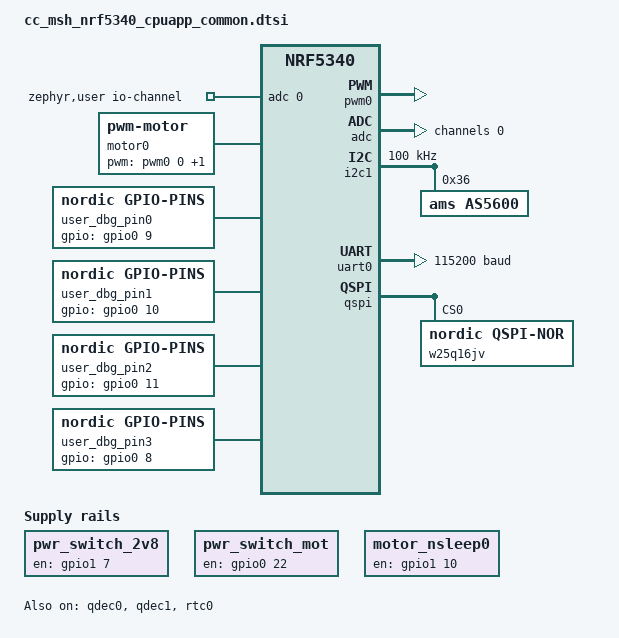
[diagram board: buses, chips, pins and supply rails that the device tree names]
/*
 * Copyright (c) 2024 Classified Cycling BV
 *
 * SPDX-License-Identifier: Apache-2.0
 */

#include "cc_msh_nrf5340_cpuapp_common-pinctrl.dtsi"

/ {
	chosen {
		zephyr,console = &uart0;
		zephyr,shell-uart = &uart0;
		zephyr,uart-mcumgr = &uart0;
		zephyr,bt-mon-uart = &uart0;
		zephyr,bt-c2h-uart = &uart0;
		zephyr,bt-hci-ipc = &ipc0;
		watchdog0 = &wdt0;
	};

	/* These aliases are provided for compatibility with samples */
	aliases {
		spi-flash0 = &w25q16jv;
		encoder = &qdec0;
		motor = &motor0;
		pwr-switch-mot = &pwr_switch_mot;
		hall0 = &hall0;
		adc = &adc;
	};

	zephyr,user {
		io-channels = <&adc 0>;
		ppi-trace-rtc = <&rtc0>;
	};

	/* This regulator controls PSW+2V8_ON onboard supply */
	pwr_switch_2v8: pwr-switch-2v8 {
		compatible = "regulator-fixed";
		enable-gpios = <&gpio1 7 GPIO_ACTIVE_HIGH>;
		regulator-name = "pwr_switch_2v8";
		regulator-boot-on;
		startup-delay-us = <2000>;
		off-on-delay-us = <2000>;
	};

	/* This regulator controls the on-board Motor supply */
	pwr_switch_mot: pwr-switch-mot  {
		compatible = "regulator-fixed";
		enable-gpios = <&gpio0 22 GPIO_ACTIVE_HIGH>;
		regulator-name = "pwr_switch_mot";
		startup-delay-us = <0>;
		off-on-delay-us = <8000>;
	};

	/* This regulator controls the motor driver nSLEEP GPIO */
	motor_nsleep0: motor-nsleep0 {
		compatible = "regulator-fixed";
		enable-gpios = <&gpio1 10 GPIO_ACTIVE_HIGH>;
		regulator-name = "motor_nsleep";
		startup-delay-us = <0>;
		off-on-delay-us = <0>;
	};

	motor0: motor_0 {
		compatible = "pwm-motor";
		pwms = <&pwm0 0 PWM_MSEC(1) PWM_POLARITY_NORMAL>,
		       <&pwm0 1 PWM_MSEC(1) PWM_POLARITY_NORMAL>;
		pwm-names ="alpha", "beta";
		regulator = <&pwr_switch_mot>;
	};

	inputs {
		compatible = "cc-input";
		hall0: hall_0 {
			gpios = <&gpio1 5 (GPIO_PUSH_PULL)>;
			label = "Hall sensor 0";
		};
	};

	user_dbg_pin0: user-dbg-pin0 {
		compatible = "nordic,gpio-pins";
		gpios = <&gpio0 9 GPIO_ACTIVE_HIGH>;
		status = "okay";
	};

	user_dbg_pin1: user-dbg-pin1 {
		compatible = "nordic,gpio-pins";
		gpios = <&gpio0 10 GPIO_ACTIVE_HIGH>;
		status = "okay";
	};

	user_dbg_pin2: user-dbg-pin2 {
		compatible = "nordic,gpio-pins";
		gpios = <&gpio0 11 GPIO_ACTIVE_HIGH>;
		status = "okay";
	};

	user_dbg_pin3: user-dbg-pin3 {
		compatible = "nordic,gpio-pins";
		gpios = <&gpio0 8 GPIO_ACTIVE_HIGH>;
		status = "okay";
	};
};

&pwm0 {
	status = "okay";
	pinctrl-0 = <&pwm0_default>;
	pinctrl-1 = <&pwm0_sleep>;
	pinctrl-names = "default", "sleep";
};


&qdec0 {
	status = "okay";
	pinctrl-0 = <&qdec0_default>;
	pinctrl-1 = <&qdec0_sleep>;
	pinctrl-names = "default", "sleep";
	// steps = <1200>;  // For Tronsun 12GFN30-100-06150E (3 PPR x 100:1)
	steps = <2592>;  // For Zhaowei ZWMD012012-216E (3 PPR x 216:1)
	// steps = <2400>;  // For Tronsun 12GRN30-199-06100E (3 PPR x 199:1)
	// steps = <2520>;  // For TT-GM12-N30VA (3 PPR x 210:1)
	led-pre = <0>;  // This must be set to zero since we're not using an LED-based encoder
};

&qdec1 {
	status = "okay";
	pinctrl-0 = <&qdec1_default>;
	pinctrl-1 = <&qdec1_sleep>;
	pinctrl-names = "default", "sleep";
	steps = <80>;
	led-pre = <0>;  // This must be set to zero since we're not using an LED-based encoder
};

&adc {
	status = "okay";
	#address-cells = <1>;
	#size-cells = <0>;

	channel@0 {
		reg = <0>;
		zephyr,gain = "ADC_GAIN_1_6";
		zephyr,reference = "ADC_REF_INTERNAL";
		zephyr,acquisition-time = <ADC_ACQ_TIME_DEFAULT>;
		zephyr,input-positive = <NRF_SAADC_AIN6>; /* P0.27 */
		zephyr,resolution = <12>;
		zephyr,oversampling = <4>;
	};
};

&gpiote {
	status = "okay";
};

&gpio0 {
	status = "okay";
};

&gpio1 {
	status = "okay";
};

&i2c1 {
	compatible = "nordic,nrf-twim";
	status = "okay";
	pinctrl-0 = <&i2c1_default>;
	pinctrl-1 = <&i2c1_sleep>;
	pinctrl-names = "default", "sleep";
	clock-frequency = <I2C_BITRATE_STANDARD>;
	as5600@36 {
		status = "okay";
		compatible = "ams,as5600";
		reg = <0x36>;
	};
	/*
	sht4x@44 {
		status = "okay";
		compatible = "sensirion,sht4x";
		reg = <0x44>;
		repeatability = <2>;
	};
	*/
};

&uart0 {
	status = "okay";
	current-speed = <115200>;
	pinctrl-0 = <&uart0_default>;
	pinctrl-1 = <&uart0_sleep>;
	pinctrl-names = "default", "sleep";
};

&qspi {
	status = "okay";
	pinctrl-0 = <&qspi_default>;
	pinctrl-1 = <&qspi_sleep>;
	pinctrl-names = "default", "sleep";
	w25q16jv: w25q16jv@0 {
		compatible = "nordic,qspi-nor";
		reg = <0>;
		jedec-id = [ef 40 15];
		sfdp-bfp = [
			e5 20 f9 ff  ff ff ff 00  44 eb 08 6b  08 3b 42 bb
			fe ff ff ff  ff ff 00 00  ff ff 40 eb  0c 20 0f 52
			10 d8 00 00  36 02 a6 00  82 ea 14 b3  e9 63 76 33
			7a 75 7a 75  f7 a2 d5 5c  19 f7 4d ff  e9 30 f8 80
		];
		size = <16777216>;
		quad-enable-requirements = "S2B1v4";
		readoc = "read4io";
		writeoc = "pp4o";
		sck-frequency = <50000000>;
		has-dpd;
		t-enter-dpd = <3000>;
		t-exit-dpd = <3000>;
	};
};

&flash0 {
	partitions {
		compatible = "fixed-partitions";
		#address-cells = <1>;
		#size-cells = <1>;

		boot_partition: partition@0 {
			label = "mcuboot";
			reg = <0x00000000 0x00010000>;
		};

		slot0_partition: partition@10000 {
			label = "image-0";
		};

		slot0_ns_partition: partition@50000 {
			label = "image-0-nonsecure";
		};

		slot1_partition: partition@80000 {
			label = "image-1";
		};

		slot1_ns_partition: partition@c0000 {
			label = "image-1-nonsecure";
		};

		/* 0xf0000 to 0xf7fff reserved for TF-M partitions */
		storage_partition: partition@f8000 {
			label = "storage";
			reg = <0x000f8000 0x00008000>;
		};
	};
};

&rtc0 {
	status = "okay";
};

/ {
	reserved-memory {
		#address-cells = <1>;
		#size-cells = <1>;
		ranges;

		sram0_image: image@20000000 {
			/* Zephyr image(s) memory */
		};

		sram0_s: image_s@20000000 {
			/* Secure image memory */
		};

		sram0_ns: image_ns@20040000 {
			/* Non-Secure image memory */
		};
	};
};

/* Include partition configuration file */
#include "cc_msh_nrf5340_cpuapp_partition_conf.dtsi"
#include "cc_msh_nrf5340_shared.dtsi"
